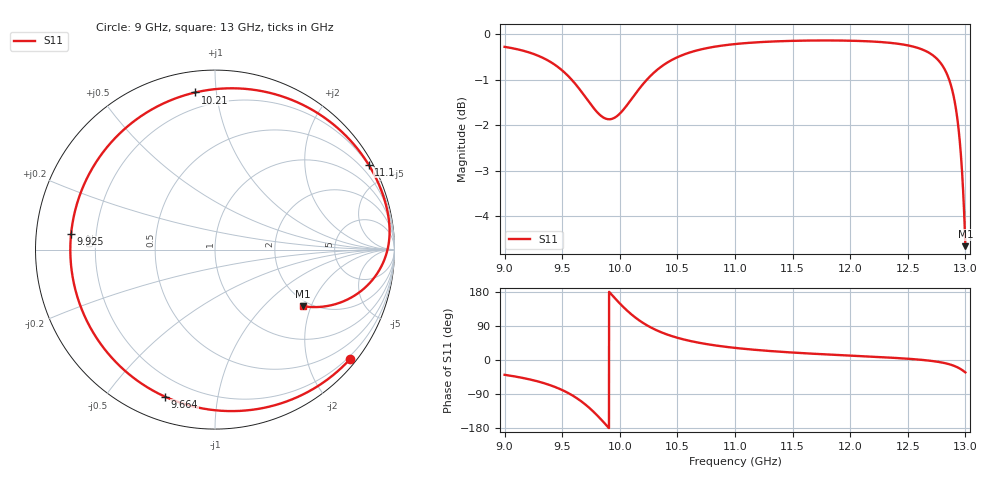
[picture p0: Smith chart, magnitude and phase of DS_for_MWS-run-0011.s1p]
! TOUCHSTONE file generated by CST DESIGN STUDIO
! Date and time: Tue Feb  4 14:32:52 2025
! Project name: C:\Work\MatlabApps\UnitCellOptimizationMatlab\CST\unitcell.cst
! Tree item: Tasks\Sweep1\SPara1\S-Parameters
! Header version: 2024
! Port assignment regex: !\s*Touchstone port\s*([0-9]+)\s*=\s*(CST MWS port|CST DES external port|CST DES block port)\s*(.+)\s* \(\"(.*)\"\)(\s*mode\s*([0-9]+))?.*
! Touchstone port assignment:
! Touchstone port 1 = CST DES external port 1 ("")
# GHz S MA R 50
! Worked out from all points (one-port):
!   4001 points, 9 GHz to 13 GHz, reference 50 ohm
!   lowest |S11| = -4.7 dB at 13 GHz (marker M1), VSWR 3.81, Z = 92 - j88.2 ohm
!   |S11| at or under -10 dB: nowhere
!   S11 on the Smith chart (normalised r, x): 9 GHz: 0.14, -2.81; 9.664 GHz: 0.11, -0.71; 9.925 GHz: 0.11, +0.05; 10.21 GHz: 0.11, +0.88; 11.1 GHz: 0.18, +3.86; 13 GHz: 1.84, -1.76
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9  0.9687 -39.1
9.148  0.9602 -46.8
9.281  0.9482 -55.9
9.396  0.9327 -66.5
9.5  0.9124 -79.3
9.589  0.8893 -93.5
9.664  0.8656 -108.7
9.724  0.8452 -123.3
9.783  0.8264 -139.9
9.857  0.8098 -163.3
9.925  0.8066 173.8
10  0.8178 149.2
10.05  0.8316 134.1
10.099  0.8476 120.8
10.15  0.8648 108.6
10.205  0.8824 97.2
10.347  0.9187 74.8
10.5  0.9436 58.6
10.716  0.9631 43.9
11  0.9755 32.0
11.096  0.978 29.0
11.5  0.9835 19.7
12  0.9838 11.6
12.5  0.9723 3.3
12.705  0.9506 -2.4
12.85  0.8977 -10.4
12.93  0.8076 -19.1
13  0.5843 -32.7
